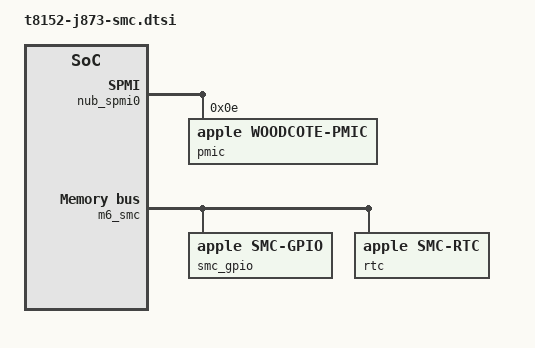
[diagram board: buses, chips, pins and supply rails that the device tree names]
// SPDX-License-Identifier: GPL-2.0+ OR MIT
/*
 * Apple T8152 (M6) Mac mini J873: SMC GPIO / reboot / RTC and the PMU
 * (woodcote) NVMEM cells they use.
 *
 * Sources: M6 ADT (m6-experiment-adt-20261019) and the 26A434 kernelcache
 * (AppleSMC, AppleSPMIPMU). Offline only: never booted on M6 hardware.
 *
 * Extends the &m6_smc node of t8152-j873.dts (mailbox + hwmon). Needs
 * ps_nub_spmi0 from t8152-j873-pmgr.dtsi and aic from t8152-j873.dts.
 *
 * Reboot / poweroff: macsmc-reboot writes SMC key MBSE = 'rest' / 'offw'
 * (AppleSMCPMU::handleSystemPowerStateChange does the same) and then
 * 'phra' (restart) / 'off1' (poweroff) (AppleDialogSPMIPMU::_handlePEHaltRestart
 * and ::_shutdownGated). ADT pmu-main has info-has_phra = 1.
 *
 * There is deliberately no shutdown_flag cell (PMU 0xf80f bit 3): without it a
 * poweroff request behaves like a restart (see macsmc-reboot.c), so the machine
 * always comes back. Add the cell only once poweroff is wanted.
 */

#include <dt-bindings/spmi/spmi.h>

/ {
	soc {
		/*
		 * ADT /arm-io/nub-spmi0: reg[0] bus 0x108714000 -> phys 0x308714000 (+0x200000000).
		 * ADT interrupts[1] = 675 with interrupt-parent[1] = aic (phandle 194); same
		 * shape as nub-spmi-a0 (682). The AIC choice is INFERRED, see
		 * t8152-j873-usbpd-spmi.dtsi.
		 */
		nub_spmi0: spmi@308714000 {
			compatible = "apple,t8152-spmi", "apple,t8103-spmi";
			reg = <0x3 0x08714000 0x0 0x4000>;
			#address-cells = <2>;
			#size-cells = <0>;
			#interrupt-cells = <2>;
			interrupt-controller;
			interrupt-parent = <&aic>;
			interrupts = <AIC_IRQ 675 IRQ_TYPE_LEVEL_HIGH>;
			power-domains = <&ps_nub_spmi0>;

			/*
			 * ADT nub-spmi0/pmu-main: compatible "pmu,spmi","pmu,woodcote",
			 * reg word0 = 0xe.
			 *
			 * NVMEM layout. ADT info-* values:
			 *   info-clock_offset = (0x2100, 6)   RTC offset, 6 bytes (the kext
			 *     rejects any other count, AppleDialogSPMIPMURTC::_readConfiguration)
			 *   info-leg_scrpad   = 0xf800        boot keys: SPMI address =
			 *     leg_scrpad + key (AppleDialogSPMIPMU::_readBootKey)
			 * The boot key numbers (1 = boot_stage, 2 = error/panic counts, 0xf bit 3 =
			 * shutdown flag, not wired) are the ones t8103/t8122/t8140 use; the kext reads keys 1
			 * and 2 in _updateBootProperties. Key 0xf is INFERRED.
			 */
			pmic@e {
				compatible = "apple,woodcote-pmic", "apple,spmi-nvmem";
				reg = <0xe SPMI_USID>;

				nvmem-layout {
					compatible = "fixed-layout";
					#address-cells = <1>;
					#size-cells = <1>;

					boot_stage: boot-stage@f801 {
						reg = <0xf801 0x1>;
					};

					boot_error_count: boot-error-count@f802,0 {
						reg = <0xf802 0x1>;
						bits = <0 4>;
					};

					panic_count: panic-count@f802,4 {
						reg = <0xf802 0x1>;
						bits = <4 4>;
					};

					rtc_offset: rtc-offset@2100 {
						reg = <0x2100 0x6>;
					};
				};
			};
		};
	};
};

&m6_smc {
	/*
	 * pcIO pins used by ADT platform functions (see gpio-macsmc.c, j873 table):
	 *   15 hdmi_pwr_en     20 dp2hdmi_pwr_en     19 pci-bridge0 (Wi-Fi/BT) reset
	 */
	smc_gpio: gpio {
		compatible = "apple,smc-gpio";
		gpio-controller;
		#gpio-cells = <2>;
	};

	smc_reboot: reboot {
		compatible = "apple,smc-reboot";
		nvmem-cells = <&boot_stage>, <&boot_error_count>, <&panic_count>;
		nvmem-cell-names = "boot_stage", "boot_error_count", "panic_count";
	};

	rtc {
		compatible = "apple,smc-rtc";
		nvmem-cells = <&rtc_offset>;
		nvmem-cell-names = "rtc_offset";
	};
};
